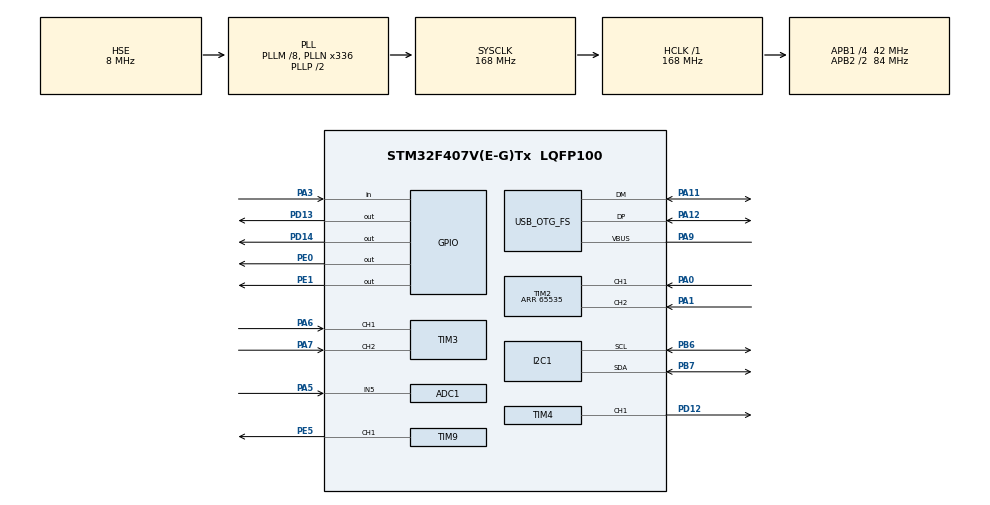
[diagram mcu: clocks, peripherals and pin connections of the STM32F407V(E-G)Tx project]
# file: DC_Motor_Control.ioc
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ADC1.Channel-0\#ChannelRegularConversion=ADC_CHANNEL_5
ADC1.ContinuousConvMode=ENABLE
ADC1.NbrOfConversionFlag=1
ADC1.Rank-0\#ChannelRegularConversion=1
ADC1.SamplingTime-0\#ChannelRegularConversion=ADC_SAMPLETIME_3CYCLES
ADC1.master=1
Dma.ADC1.0.Direction=DMA_PERIPH_TO_MEMORY
Dma.ADC1.0.FIFOMode=DMA_FIFOMODE_DISABLE
Dma.ADC1.0.Instance=DMA2_Stream0
Dma.ADC1.0.MemDataAlignment=DMA_MDATAALIGN_HALFWORD
Dma.ADC1.0.MemInc=DMA_MINC_ENABLE
Dma.ADC1.0.Mode=DMA_CIRCULAR
Dma.ADC1.0.PeriphDataAlignment=DMA_PDATAALIGN_HALFWORD
Dma.ADC1.0.PeriphInc=DMA_PINC_DISABLE
Dma.ADC1.0.Priority=DMA_PRIORITY_LOW
Dma.Request0=ADC1
I2C1.I2C_Mode=I2C_Standard
Mcu.Family=STM32F4
Mcu.Name=STM32F407V(E-G)Tx
Mcu.Package=LQFP100
NVIC.DMA2_Stream0_IRQn=true\:0\:0\:false\:false\:true\:false\:true\:true
NVIC.OTG_FS_IRQn=true\:0\:0\:false\:false\:true\:true\:true\:true
NVIC.PriorityGroup=NVIC_PRIORITYGROUP_0
NVIC.TIM2_IRQn=true\:0\:0\:false\:false\:true\:true\:true\:true
PA0-WKUP.Signal=S_TIM2_CH1_ETR
PA1.Signal=S_TIM2_CH2
PA11.Mode=Device_Only
PA11.Signal=USB_OTG_FS_DM
PA12.Mode=Device_Only
PA12.Signal=USB_OTG_FS_DP
PA13.Mode=Serial_Wire
PA13.Signal=SYS_JTMS-SWDIO
PA14.Mode=Serial_Wire
PA14.Signal=SYS_JTCK-SWCLK
PA3.Signal=GPIO_Input
PA5.Signal=ADCx_IN5
PA6.Signal=S_TIM3_CH1
PA7.Signal=S_TIM3_CH2
PA9.Mode=Activate_VBUS
PA9.Signal=USB_OTG_FS_VBUS
PB6.Mode=I2C
PB6.Signal=I2C1_SCL
PB7.Mode=I2C
PB7.Signal=I2C1_SDA
PD12.Signal=S_TIM4_CH1
PD13.Signal=GPIO_Output
PD14.Signal=GPIO_Output
PE0.Signal=GPIO_Output
PE1.Signal=GPIO_Output
PE5.Signal=S_TIM9_CH1
PH0-OSC_IN.Mode=HSE-External-Oscillator
PH0-OSC_IN.Signal=RCC_OSC_IN
PH1-OSC_OUT.Mode=HSE-External-Oscillator
PH1-OSC_OUT.Signal=RCC_OSC_OUT
ProjectManager.HeapSize=0x200
ProjectManager.StackSize=0x400
ProjectManager.TargetToolchain=STM32CubeIDE
RCC.48MHZClocksFreq_Value=48000000
RCC.AHBFreq_Value=168000000
RCC.APB1CLKDivider=RCC_HCLK_DIV4
RCC.APB1Freq_Value=42000000
RCC.APB1TimFreq_Value=84000000
RCC.APB2CLKDivider=RCC_HCLK_DIV2
RCC.APB2Freq_Value=84000000
RCC.APB2TimFreq_Value=168000000
RCC.CortexFreq_Value=168000000
RCC.HCLKFreq_Value=168000000
RCC.HSE_VALUE=8000000
RCC.HSI_VALUE=16000000
RCC.LSE_VALUE=32768
RCC.PLLM=8
RCC.PLLN=336
RCC.PLLQ=7
RCC.SYSCLKFreq_VALUE=168000000
RCC.SYSCLKSource=RCC_SYSCLKSOURCE_PLLCLK
RCC.VCOOutputFreq_Value=336000000
SH.ADCx_IN5.0=ADC1_IN5,IN5
SH.S_TIM2_CH1_ETR.0=TIM2_CH1,Encoder_Interface
SH.S_TIM2_CH2.0=TIM2_CH2,Encoder_Interface
SH.S_TIM3_CH1.0=TIM3_CH1,Encoder_Interface
SH.S_TIM3_CH2.0=TIM3_CH2,Encoder_Interface
SH.S_TIM4_CH1.0=TIM4_CH1,PWM Generation1 CH1
SH.S_TIM9_CH1.0=TIM9_CH1,PWM Generation1 CH1
TIM2.AutoReloadPreload=TIM_AUTORELOAD_PRELOAD_ENABLE
TIM2.EncoderMode=TIM_ENCODERMODE_TI12
TIM2.Period=65535
TIM3.EncoderMode=TIM_ENCODERMODE_TI12
TIM4.AutoReloadPreload=TIM_AUTORELOAD_PRELOAD_ENABLE
TIM4.Channel-PWM\ Generation1\ CH1=TIM_CHANNEL_1
TIM4.Period=999
TIM4.Prescaler=83
TIM9.Channel-PWM\ Generation1\ CH1=TIM_CHANNEL_1
TIM9.Period=999
TIM9.Prescaler=167
USB_DEVICE.CLASS_NAME_FS=CDC
USB_DEVICE.PID_CDC_FS=0x1500
USB_DEVICE.VID-CDC_FS=0x256
USB_DEVICE.VirtualMode-CDC_FS=Cdc
USB_DEVICE.VirtualModeFS=Cdc_FS
USB_OTG_FS.VirtualMode=Device_Only
VP_TIM4_VS_ClockSourceINT.Mode=Internal
VP_TIM9_VS_ClockSourceINT.Mode=Internal
VP_USB_DEVICE_VS_USB_DEVICE_CDC_FS.Mode=CDC_FS
board=STM32F407G-DISC1

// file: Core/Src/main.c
/* USER CODE BEGIN Header */
/**
 ******************************************************************************
 * @file           : main.c
 * @brief          : Main program body
 ******************************************************************************
 * @attention
 *
 * Copyright (c) 2025 STMicroelectronics.
 * All rights reserved.
 *
 * This software is licensed under terms that can be found in the LICENSE file
 * in the root directory of this software component.
 * If no LICENSE file comes with this software, it is provided AS-IS.
 *
 ******************************************************************************
 */
/* USER CODE END Header */
#include "main.h"
#include "adc.h"
#include "dma.h"
#include "i2c.h"
#include "tim.h"
#include "usb_device.h"
#include "gpio.h"

/* USER CODE BEGIN Includes */
#include <stdio.h>
#include <string.h>
#include <math.h>
#include "motor_control.h"
#include "usbd_cdc_if.h"
#include "mpu6050.h"
/* USER CODE END Includes */

/* USER CODE BEGIN PTD */
extern USBD_HandleTypeDef hUsbDeviceFS;

/* USER CODE END PTD */

/* USER CODE BEGIN PD */
/* DWT-based debounce for Motor2 EXTI (PA7)
 * STM32F407 runs at 168 MHz → 168 cycles per microsecond
 * Change 168 if you ever change your system clock */
// #define DWT_US_TO_CYCLES(us)  ((us) * 168u)

/* Minimum microseconds between two valid encoder edges.
 * At max motor speed 178 RPM with ~1237 CPR (both edges):
 *   f_max = (178/60) × 1237 = 3670 edges/sec
 *   t_min = 1/3670 = 272 us
 * We use 200us so we never accidentally reject real pulses
 * but still catch bounce (which is typically <100us) */
// #define ENC2_DEBOUNCE_US      200u
/* USER CODE END PD */

/* USER CODE BEGIN PV */
uint32_t last_rpm_time = 0;
uint32_t last_pid_time = 0;
uint16_t adc_value; // ADC variable

MPU6050_t imu1;
uint32_t last_imu_time = 0;

extern volatile uint8_t reset_request;
extern volatile uint32_t reset_token;
extern volatile uint8_t dbg_stream;

extern volatile int32_t enc_zero_m1;
extern volatile int32_t enc_zero_m2;
extern volatile uint8_t enc_request;

volatile int g_mpu_init_status = -1; // 0 = HAL_OK
volatile int g_mpu_calib_status = -1;

const int PWM_MIN_M1 = 28;
const int PWM_MIN_M2 = 28;

const uint32_t KICK_MS = 100;
const int KICK_EXTRA_M1 = 0;
const int KICK_EXTRA_M2 = 0; // try 8..15

const float ACC_LIMIT_M1 = 25.0f; // rad/s^2
const float ACC_LIMIT_M2 = 25.0f; // rad/s^2 (more gentle for motor2)

const float COUNTS_PER_REV_M1 = 1240.00f;
const float COUNTS_PER_REV_M2 = 1239.67f;

// ---- wheel speed trims (start values) ----
const float VEL_SCALE_M1_FWD = 1.00f; // was 0.84f
const float VEL_SCALE_M1_REV = 1.00f; // was 1.00f

const float VEL_SCALE_M2_FWD = 1.045f;
const float VEL_SCALE_M2_REV = 1.00f;

Motor motor1 = {
    .encoder_tim = &htim2,
    .pwm_tim = &htim4,
    .in1_port = GPIOD,
    .in1_pin = GPIO_PIN_13,
    .in2_port = GPIOD,
    .in2_pin = GPIO_PIN_14,
    .encoder_count = 0,
    .rpm = 0.0f,
    .target_velocity = 0.0f,
    .error_integral = 0.0f,
    .prev_error = 0.0f,
    .kp = 0.30f,
    .ki = 0.02f,
    .kd = 0.00f,
    .enc_sign = -1};

Motor motor2 = {
    .encoder_tim = &htim3,
    .pwm_tim = &htim9,
    .in1_port = GPIOE,
    .in1_pin = GPIO_PIN_0,
    .in2_port = GPIOE,
    .in2_pin = GPIO_PIN_1,
    .encoder_count = 0,
    .rpm = 0.0f,
    .target_velocity = 0.0f,
    .error_integral = 0.0f,
    .prev_error = 0.0f,
    .kp = 0.30f,
    .ki = 0.02f,
    .kd = 0.00f,
    .enc_sign = +1};

#ifndef M_PI
#define M_PI 3.14159265358979323846f
#endif
/* USER CODE END PV */

void SystemClock_Config(void);
/* USER CODE BEGIN PFP */
void set_motor_speed(Motor *motor, int speed_percent, uint8_t direction, uint8_t brake);
void read_encoder(Motor *motor);
void calculate_rpm(Motor *motor);
void pid_control(Motor *motor);

/* USER CODE END PFP */

int main(void)
{

    /* MCU Configuration--------------------------------------------------------*/

    /* Reset of all peripherals, Initializes the Flash interface and the Systick. */
    HAL_Init();

    /* Configure the system clock */
    SystemClock_Config();

    /* Initialize all configured peripherals */
    MX_GPIO_Init();
    MX_DMA_Init();
    MX_ADC1_Init();
    MX_TIM2_Init();
    MX_TIM4_Init();
    MX_USB_DEVICE_Init();
    MX_TIM9_Init();
    MX_I2C1_Init();
    MX_TIM3_Init();
    /* USER CODE BEGIN 2 */
    /* Wake + configure the MPU6050. Keep the robot STILL for ~1 second after reset
       (gyro bias is measured here). Results are printed from the main loop. */
    g_mpu_init_status = (int)MPU6050_Init(&imu1);
    if (g_mpu_init_status == 0)
    {                                                                // HAL_OK
        g_mpu_calib_status = (int)MPU6050_CalibrateGyro(&imu1, 200); // ~1 s, robot still
    }

    /* DWT cycle counter (leave as-is) */
    CoreDebug->DEMCR |= CoreDebug_DEMCR_TRCENA_Msk;
    DWT->CYCCNT = 0;
    DWT->CTRL |= DWT_CTRL_CYCCNTENA_Msk;
    /* USER CODE END 2 */
    /* Enable DWT cycle counter for microsecond timing in EXTI ISR.
     * Must be done before the while loop starts.
     * DEMCR: enable trace, CTRL: start counter */
    CoreDebug->DEMCR |= CoreDebug_DEMCR_TRCENA_Msk;
    DWT->CYCCNT = 0;
    DWT->CTRL |= DWT_CTRL_CYCCNTENA_Msk;

    /* Infinite loop */
    /* USER CODE BEGIN WHILE */
    // Start peripherals for both motors
    HAL_TIM_Encoder_Start(&htim2, TIM_CHANNEL_ALL);
    htim2.Instance->CNT = 0;

    HAL_TIM_Encoder_Start(&htim3, TIM_CHANNEL_ALL);
    htim3.Instance->CNT = 0;

    HAL_TIM_PWM_Start(&htim4, TIM_CHANNEL_1); // Motor1 PWM
    HAL_TIM_PWM_Start(&htim9, TIM_CHANNEL_1); // Motor2 PWM

    HAL_ADC_Start_DMA(&hadc1, (uint32_t *)&adc_value, 1);

    uint8_t test_phase = 0;
    uint8_t usb_connected = 0;

    uint32_t motor_test_start = HAL_GetTick();

    // Blink LED to indicate code is running
    HAL_GPIO_WritePin(GPIOD, GPIO_PIN_15, GPIO_PIN_SET);

    // Send test message
    CDC_Transmit_FS((uint8_t *)"USB CDC Working!\r\n", 18);
    HAL_Delay(1000);

    while (1)
    {
        /* ---- MPU6050 DIAGNOSTIC: runs when you type 'i' in the console ---- */
        if (i2c_scan_request)
        {
            i2c_scan_request = 0;
            CDC_Printf("\r\n--- MPU6050 DIAG ---\r\n");
            for (uint8_t a = 0x68; a <= 0x69; a++)
            {
                HAL_StatusTypeDef s = HAL_I2C_IsDeviceReady(&hi2c1, (uint16_t)(a << 1), 5, 100);
                CDC_Printf("scan 0x%02X -> %s (HAL=%d)\r\n", a, (s == HAL_OK) ? "FOUND" : "no", (int)s);
            }
            uint8_t who = 0xAA;
            HAL_StatusTypeDef r = HAL_I2C_Mem_Read(&hi2c1, (0x68 << 1), 0x75,
                                                   I2C_MEMADD_SIZE_8BIT, &who, 1, 100);
            CDC_Printf("WHO_AM_I read=%s (HAL=%d) val=0x%02X (expect 0x68)\r\n",
                       (r == HAL_OK) ? "OK" : "FAIL", (int)r, who);
            CDC_Printf("MPU_Init=%d Calib=%d | live gz=%.4f yaw=%.4f\r\n",
                       g_mpu_init_status, g_mpu_calib_status, imu1.gz_rad_s, imu1.yaw_rad);
        }
        /* ---- HANDLE RESET REQUEST (from 'z' command) ---- */
        if (reset_request)
        {
            reset_request = 0;

            // Stop motors immediately
            motor1.target_velocity = 0.0f;
            motor2.target_velocity = 0.0f;
            set_motor_speed(&motor1, 0, 0, 0);
            set_motor_speed(&motor2, 0, 0, 0);

            // Reset software counts
            motor1.encoder_count = 0;
            motor2.encoder_count = 0;

            // Reset hardware encoder counters
            __HAL_TIM_SET_COUNTER(motor1.encoder_tim, 0);
            if (motor2.encoder_tim)
            {
                __HAL_TIM_SET_COUNTER(motor2.encoder_tim, 0);
            }

            // Reset PID state
            motor1.error_integral = 0.0f;
            motor1.prev_error = 0.0f;
            motor2.error_integral = 0.0f;
            motor2.prev_error = 0.0f;

            // Reset RPM
            motor1.rpm = 0.0f;
            motor2.rpm = 0.0f;

            // Reset "ENC zero offsets"
            enc_zero_m1 = 0;
            enc_zero_m2 = 0;

            // Reset timing so we don't get huge dt spikes
            last_rpm_time = HAL_GetTick();
            last_pid_time = HAL_GetTick();

            // Tell calculate_rpm/pid_control to clear their internal statics
            reset_token++;

            //  print ENC immediately (so you see "ENC 0 0" after 'z') (optional)
            enc_request = 1;
        }
        if (enc_request)
        {
            enc_request = 0;
            send_encoder_values();
        }

        uint32_t now = HAL_GetTick();
        if (now - last_imu_time >= 10)
        { // 100 Hz
            float dt;

            if (last_imu_time == 0)
            {
                dt = 0.01f;
            }
            else
            {
                dt = (now - last_imu_time) / 1000.0f;
            }

            if (MPU6050_Update(&imu1, dt) != HAL_OK)
            {
            }

            last_imu_time = now;
        }
        static uint8_t sync_stop_active = 0;
        static uint32_t sync_stop_t0 = 0;

        uint8_t cmd_zero_all =
            (fabsf(motor1.target_velocity) < 1e-3f) &&
            (fabsf(motor2.target_velocity) < 1e-3f);
        // ---- detect STOP -> MOVE transition ----
        static uint8_t was_cmd_zero_all = 1;

        if (!cmd_zero_all && was_cmd_zero_all)
        {

            // Reset timing so first dt isn't weird (even if calculate_rpm uses dt later)
            last_rpm_time = now;
            last_pid_time = now;

            reset_token++;

            motor1.error_integral = 0.0f;
            motor1.prev_error = 0.0f;
            motor2.error_integral = 0.0f;
            motor2.prev_error = 0.0f;

            motor1.rpm = 0.0f;
            motor2.rpm = 0.0f;
        }

        was_cmd_zero_all = cmd_zero_all;

        if (cmd_zero_all)
        {
            if (!sync_stop_active)
            {
                sync_stop_active = 1;
                sync_stop_t0 = now;
            }

            if ((now - sync_stop_t0) < 200)
            {
                set_motor_speed(&motor1, 25, 0, 1);
                set_motor_speed(&motor2, 35, 0, 1);
            }
            else
            {
                set_motor_speed(&motor1, 0, 0, 0);
                set_motor_speed(&motor2, 0, 0, 0);
            }

            read_encoder(&motor1);
            read_encoder(&motor2);

            HAL_Delay(10);
            continue;
        }
        else
        {
            sync_stop_active = 0;
        }

        if (now - last_rpm_time >= 10)
        {
            read_encoder(&motor1);
            read_encoder(&motor2);
            calculate_rpm(&motor1);
            calculate_rpm(&motor2);
            static uint32_t last_dbg = 0;
            static uint32_t last_hits = 0;

            if (dbg_stream && (now - last_dbg >= 200))
            {
                last_dbg = now;
                CDC_Printf("gz=%.4f yaw=%.4f\r\n", imu1.gz_rad_s, imu1.yaw_rad);
            }

            last_rpm_time = now;
        }

        if (now - last_pid_time >= 20)
        {
            pid_control(&motor1);
            pid_control(&motor2);
            last_pid_time = now;
        }

        static uint32_t last_print = 0;

        HAL_Delay(10);

        /* USER CODE END WHILE */

    }
}

void SystemClock_Config(void)
{
    RCC_OscInitTypeDef RCC_OscInitStruct = {0};
    RCC_ClkInitTypeDef RCC_ClkInitStruct = {0};

    /** Configure the main internal regulator output voltage
     */
    __HAL_RCC_PWR_CLK_ENABLE();
    __HAL_PWR_VOLTAGESCALING_CONFIG(PWR_REGULATOR_VOLTAGE_SCALE1);

    /** Initializes the RCC Oscillators according to the specified parameters
     * in the RCC_OscInitTypeDef structure.
     */
    RCC_OscInitStruct.OscillatorType = RCC_OSCILLATORTYPE_HSE;
    RCC_OscInitStruct.HSEState = RCC_HSE_ON;
    RCC_OscInitStruct.PLL.PLLState = RCC_PLL_ON;
    RCC_OscInitStruct.PLL.PLLSource = RCC_PLLSOURCE_HSE;
    RCC_OscInitStruct.PLL.PLLM = 8;
    RCC_OscInitStruct.PLL.PLLN = 336;
    RCC_OscInitStruct.PLL.PLLP = RCC_PLLP_DIV2;
    RCC_OscInitStruct.PLL.PLLQ = 7;
    if (HAL_RCC_OscConfig(&RCC_OscInitStruct) != HAL_OK)
    {
        Error_Handler();
    }

    /** Initializes the CPU, AHB and APB buses clocks
     */
    RCC_ClkInitStruct.ClockType = RCC_CLOCKTYPE_HCLK | RCC_CLOCKTYPE_SYSCLK | RCC_CLOCKTYPE_PCLK1 | RCC_CLOCKTYPE_PCLK2;
    RCC_ClkInitStruct.SYSCLKSource = RCC_SYSCLKSOURCE_PLLCLK;
    RCC_ClkInitStruct.AHBCLKDivider = RCC_SYSCLK_DIV1;
    RCC_ClkInitStruct.APB1CLKDivider = RCC_HCLK_DIV4;
    RCC_ClkInitStruct.APB2CLKDivider = RCC_HCLK_DIV2;

    if (HAL_RCC_ClockConfig(&RCC_ClkInitStruct, FLASH_LATENCY_5) != HAL_OK)
    {
        Error_Handler();
    }
}

/* USER CODE BEGIN 4 */

void set_motor_speed(Motor *motor, int speed_percent, uint8_t direction, uint8_t brake)
{
    if (speed_percent < 0)
        speed_percent = 0;
    if (speed_percent > 100)
        speed_percent = 100;
    motor->last_pwm = speed_percent;

    uint32_t arr = __HAL_TIM_GET_AUTORELOAD(motor->pwm_tim);
    uint32_t pwm_val = (speed_percent * arr) / 100;
    __HAL_TIM_SET_COMPARE(motor->pwm_tim, TIM_CHANNEL_1, pwm_val);
    // If PWM is zero and we're not braking, coast (IN1=0, IN2=0)
    if (!brake && speed_percent == 0)
    {
        HAL_GPIO_WritePin(motor->in1_port, motor->in1_pin, GPIO_PIN_RESET);
        HAL_GPIO_WritePin(motor->in2_port, motor->in2_pin, GPIO_PIN_RESET);
        return;
    }

    if (brake)
    {
        HAL_GPIO_WritePin(motor->in1_port, motor->in1_pin, GPIO_PIN_SET);
        HAL_GPIO_WritePin(motor->in2_port, motor->in2_pin, GPIO_PIN_SET);

        return;
    }

    GPIO_PinState in1 = direction ? GPIO_PIN_SET : GPIO_PIN_RESET;
    GPIO_PinState in2 = direction ? GPIO_PIN_RESET : GPIO_PIN_SET;

    HAL_GPIO_WritePin(motor->in1_port, motor->in1_pin, in1);
    HAL_GPIO_WritePin(motor->in2_port, motor->in2_pin, in2);

    if (motor == &motor2 && speed_percent > 0)
    {
    }
}

void read_encoder(Motor *motor)
{
    int16_t raw = (int16_t)(motor->encoder_tim->Instance->CNT);
    motor->encoder_tim->Instance->CNT = 0;

    int32_t delta = (int32_t)motor->enc_sign * (int32_t)raw;
    motor->last_delta_counts = delta;
    motor->encoder_count += delta;
}

void calculate_rpm(Motor *motor)
{
    extern volatile uint32_t reset_token;

    static uint32_t last_time[2] = {0, 0};
    static int32_t last_count[2] = {0, 0};
    static float rpm_filt[2] = {0.0f, 0.0f};

    static uint32_t seen_token[2] = {0, 0};

    uint8_t idx = (motor == &motor2) ? 1 : 0;
    uint32_t now = HAL_GetTick();

    /* ---- CLEAR INTERNAL STATE AFTER 'z' ---- */
    if (seen_token[idx] != reset_token)
    {
        seen_token[idx] = reset_token;
        last_time[idx] = 0;
        last_count[idx] = motor->encoder_count;
        rpm_filt[idx] = 0.0f;
        motor->rpm = 0.0f;
        return;
    }

    uint32_t period_ms = 10;
    if (now - last_time[idx] < period_ms)
        return;

    if (last_time[idx] == 0)
    {
        last_time[idx] = now;
        last_count[idx] = motor->encoder_count;
        motor->rpm = 0.0f;
        return;
    }
    uint32_t dt_ms = now - last_time[idx];
    if (dt_ms == 0)
        return;

    int32_t diff = motor->encoder_count - last_count[idx];
    int32_t adiff = (diff < 0) ? -diff : diff;

    float dt = dt_ms / 1000.0f;
    float cpr = (motor == &motor2) ? COUNTS_PER_REV_M2 : COUNTS_PER_REV_M1;

    int32_t min_counts = (motor == &motor2) ? 2 : 2; // or 1, but SAME for both

    float rpm_meas;
    if (adiff >= min_counts)
    {
        rpm_meas = (diff * 60.0f) / (cpr * dt);
    }
    else
    {
        if (fabsf(motor->target_velocity) < 0.2f)
        {
            rpm_meas = 0.0f;
        }
        else
        {
            float decay = 0.90f;
            rpm_meas = rpm_filt[idx] * decay;
        }
    }
    /* ---- CLAMP HERE ---- */
    if (rpm_meas > 220.0f)
        rpm_meas = 220.0f;
    if (rpm_meas < -220.0f)
        rpm_meas = -220.0f;

    float alpha = 0.60f;

    rpm_filt[idx] = alpha * rpm_filt[idx] + (1.0f - alpha) * rpm_meas;

    motor->rpm = rpm_filt[idx];

    last_count[idx] = motor->encoder_count;
    last_time[idx] = now;
}

void pid_control(Motor *motor)
{
    extern volatile uint32_t reset_token;

    static uint32_t last_t[2] = {0, 0};
    static float ramp_target[2] = {0.0f, 0.0f};
    static uint32_t seen_token[2] = {0, 0};

    static uint32_t kick_t0[2] = {0, 0};
    static float last_cmd[2] = {0.0f, 0.0f};
    static int32_t kick_start_enc[2] = {0, 0};
    static uint8_t moving[2] = {0, 0};
    static uint8_t stop_state[2] = {0, 0}; // 0=RUN, 1=STOPPING, 2=STOPPED
    static uint8_t stop_good[2] = {0, 0};

    static uint32_t last_dbg[2] = {0, 0};
    static uint32_t dbg_until[2] = {0, 0};
    static int last_pwm[2] = {0, 0};
    static uint8_t printed_stopping[2] = {0, 0};
    static uint8_t printed_stopped[2] = {0, 0};

    uint8_t idx = (motor == &motor2) ? 1 : 0;
    uint32_t now = HAL_GetTick();

    const int32_t KICK_COUNTS_M1 = 6;
    const int32_t KICK_COUNTS_M2 = 12;
    const uint32_t KICK_MIN_MS = 30;
    const uint32_t KICK_WIN_MS = (motor == &motor2) ? 300 : 150;

    if (seen_token[idx] != reset_token)
    {
        seen_token[idx] = reset_token;

        last_t[idx] = 0;
        ramp_target[idx] = 0.0f;

        kick_t0[idx] = 0;
        last_cmd[idx] = 0.0f;
        kick_start_enc[idx] = motor->encoder_count;
        moving[idx] = 0;

        stop_state[idx] = 0;
        stop_good[idx] = 0;

        last_dbg[idx] = 0;
        dbg_until[idx] = 0;

        motor->error_integral = 0.0f;
        motor->prev_error = 0.0f;

        last_pwm[idx] = 0;
        printed_stopping[idx] = 0;
        printed_stopped[idx] = 0;
    }

    uint8_t cmd_zero = (fabsf(motor->target_velocity) < 1e-3f);
    if (cmd_zero)
    {
        if (stop_state[idx] == 0)
        {
            stop_state[idx] = 1;
            printed_stopping[idx] = 0;
            printed_stopped[idx] = 0;
            if (dbg_stream && !printed_stopping[idx])
            {
                printed_stopping[idx] = 1;
                CDC_Printf("M%u -> STOPPING\r\n", (unsigned)(idx + 1));
            }
            stop_good[idx] = 0;
            dbg_until[idx] = now + 1500;
            last_dbg[idx] = 0;

            motor->error_integral = 0.0f;
            motor->prev_error = 0.0f;

            kick_t0[idx] = 0;
            moving[idx] = 0;
            last_pwm[idx] = 0;
        }
    }
    else
    {
        stop_state[idx] = 0;
        stop_good[idx] = 0;
        printed_stopping[idx] = 0;
        printed_stopped[idx] = 0;
    }

    if (stop_state[idx] == 2 && cmd_zero)
    {
        set_motor_speed(motor, 0, 0, 0);
        last_pwm[idx] = 0;

        if (dbg_stream && printed_stopped[idx] == 0)
        {
            printed_stopped[idx] = 1;
            CDC_Printf("M%u still STOPPED (holding)\r\n", (unsigned)(idx + 1));
        }
        return;
    }

    // ---- detect start (0 -> nonzero command) ----
    float cmd_now = motor->target_velocity;
    float cmd_prev = last_cmd[idx];

    uint8_t was_zero = (fabsf(cmd_prev) < 1e-3f);
    uint8_t now_nonzero = (fabsf(cmd_now) > 1e-3f);

    // SIGN CHANGE detection (e.g., -5 -> +5 or +5 -> -5)
    uint8_t sign_change =
        (cmd_prev > 1e-3f && cmd_now < -1e-3f) ||
        (cmd_prev < -1e-3f && cmd_now > 1e-3f);

    if ((was_zero && now_nonzero) || sign_change)
    {
        kick_t0[idx] = now;
        kick_start_enc[idx] = motor->encoder_count;
        moving[idx] = 0;

        dbg_until[idx] = now + 800;

        motor->error_integral = 0.0f;
        motor->prev_error = 0.0f;

        ramp_target[idx] = 0.0f;
        last_t[idx] = 0;
        last_pwm[idx] = 0;
    }

    last_cmd[idx] = cmd_now;

    float dt = (last_t[idx] == 0) ? 0.02f : (now - last_t[idx]) / 1000.0f;
    if (dt <= 0.0f)
        dt = 0.02f;
    last_t[idx] = now;

    float accel_limit = (motor == &motor2) ? ACC_LIMIT_M2 : ACC_LIMIT_M1;
    float max_step = accel_limit * dt;

    float boosted_cmd = motor->target_velocity;
    {
        float t_other = (motor == &motor2) ? motor1.target_velocity
                                           : motor2.target_velocity;
        uint8_t both_active =
            (fabsf(boosted_cmd) > 0.05f) && (fabsf(t_other) > 0.05f);
        if (both_active)
        {
            if ((boosted_cmd * t_other) < 0.0f)
            {
                boosted_cmd *= 5.0f;
            }
            else
            {
                boosted_cmd *= 3.0f;
            }
            if (boosted_cmd > 18.0f)
                boosted_cmd = 18.0f;
            if (boosted_cmd < -18.0f)
                boosted_cmd = -18.0f;
        }
    }
    float cmd = (stop_state[idx] == 1) ? 0.0f : boosted_cmd;
    float delta = cmd - ramp_target[idx];

    if (delta > max_step)
        delta = max_step;
    if (delta < -max_step)
        delta = -max_step;

    ramp_target[idx] += delta;
    float target = ramp_target[idx];

    float current_velocity = motor->rpm * (2.0f * M_PI) / 60.0f;
    if (stop_state[idx] == 1)
    {
        const float V_EPS = 0.15f; // rad/s
        const float T_EPS = 0.15f; // rad/s

        if (fabsf(ramp_target[idx]) < T_EPS && fabsf(current_velocity) < V_EPS)
        {
            if (++stop_good[idx] >= 3)
            {
                set_motor_speed(motor, 0, 0, 0);

                motor->error_integral = 0.0f;
                motor->prev_error = 0.0f;
                ramp_target[idx] = 0.0f;
                last_t[idx] = 0;

                moving[idx] = 0;
                kick_t0[idx] = 0;

                stop_state[idx] = 2; // STOPPED
                stop_good[idx] = 0;
                if (dbg_stream && !printed_stopped[idx])
                {
                    printed_stopped[idx] = 1;
                    CDC_Printf("M%u -> STOPPED (PWM cut)\r\n", (unsigned)(idx + 1));
                }
                return;
            }
        }
        else
        {
            stop_good[idx] = 0;
        }
    }

    float error = target - current_velocity;

    float p_term = motor->kp * error;

    if (stop_state[idx] == 0)
    {
        motor->error_integral += error * dt;
    }

    float i_term = motor->ki * motor->error_integral;

    float d_term = motor->kd * (error - motor->prev_error) / dt;
    motor->prev_error = error;

    float output = p_term + i_term + d_term;

    uint8_t dir = (target < 0.0f);
    uint8_t brake = 0;
    float u = output;

    const float BRAKE_DB = 0.10f; // start at 0.10, tune 0.05..0.20

    if (target >= 0.0f)
    {
        if (u < -BRAKE_DB)
        {
            brake = 1;
            u = -u;
        }
        else if (u < 0.0f)
        {
            u = 0.0f;
        }
    }
    else
    {
        if (u > BRAKE_DB)
        {
            brake = 1;
        }
        u = fabsf(u);
        if (!brake && u < BRAKE_DB)
            u = 0.0f;
    }

    int speed_percent = (int)(u * 100.0f);
    if (speed_percent > 100)
        speed_percent = 100;
    if (stop_state[idx] == 1)
    {
        brake = 1;
        dir = 0;

        const int STOP_PWM_MAX = 50;
        if (speed_percent > STOP_PWM_MAX)
            speed_percent = STOP_PWM_MAX;
    }

    if (!brake)
    {
        float tmag = fabsf(target);

        if (speed_percent > 0 && tmag > 0.1f)
        {

            if (motor == &motor2)
            {
                if (speed_percent < PWM_MIN_M2)
                    speed_percent = PWM_MIN_M2;
            }
            else
            {
                if (!moving[idx])
                {
                    if (speed_percent < PWM_MIN_M1)
                        speed_percent = PWM_MIN_M1;
                }
            }
        }
    }

    if (kick_t0[idx] != 0)
    {
        int32_t moved = motor->encoder_count - kick_start_enc[idx];
        if (moved < 0)
            moved = -moved;

        int32_t kick_counts = (motor == &motor2) ? KICK_COUNTS_M2 : KICK_COUNTS_M1;

        if ((now - kick_t0[idx]) >= KICK_MIN_MS && moved >= kick_counts)
        {
            moving[idx] = 1;
            kick_t0[idx] = 0;
        }
    }

    if (!brake)
    {
        if (speed_percent > 0 && !moving[idx] &&
            kick_t0[idx] != 0 && (now - kick_t0[idx]) < KICK_MS)
        {
            int base = (motor == &motor2) ? PWM_MIN_M2 : PWM_MIN_M1;
            int extra = (motor == &motor2) ? KICK_EXTRA_M2 : KICK_EXTRA_M1;
            int min_kick = base + extra;

            if (speed_percent < min_kick)
                speed_percent = min_kick;
            if (speed_percent > 100)
                speed_percent = 100;
        }
        else if (kick_t0[idx] != 0 && (now - kick_t0[idx]) >= KICK_WIN_MS)
        {

            int32_t moved = motor->encoder_count - kick_start_enc[idx];
            if (moved < 0)
                moved = -moved;

            if (moved >= 1 || fabsf(motor->rpm) > 1.0f)
            {
                moving[idx] = 1;
            }
            else
            {
                moving[idx] = 0;
            }

            kick_t0[idx] = 0;
        }
    }

    int step = (motor == &motor2) ? 4 : 8;
    int sp = speed_percent;

    if (sp > last_pwm[idx] + step)
        sp = last_pwm[idx] + step;
    if (sp < last_pwm[idx] - step)
        sp = last_pwm[idx] - step;

    last_pwm[idx] = sp;
    speed_percent = sp;

    if (dbg_until[idx] != 0 && (int32_t)(now - dbg_until[idx]) >= 0)
    {
        dbg_until[idx] = 0;
    }
    if (dbg_stream && (now - last_dbg[idx]) >= 100)
    {
        last_dbg[idx] = now;

        float cur = motor->rpm * (2.0f * M_PI) / 60.0f;
        uint32_t kick_age = (kick_t0[idx] == 0) ? 9999u : (now - kick_t0[idx]);

        CDC_Printf("M%u cmd=%.2f ramp=%.2f rpm=%.1f cur=%.2f pwm=%d dir=%u brk=%u mov=%u kickms=%lu stop=%u\r\n",
                   (unsigned)(idx + 1),
                   motor->target_velocity,
                   target,
                   motor->rpm,
                   cur,
                   speed_percent,
                   (unsigned)dir,
                   (unsigned)brake,
                   (unsigned)moving[idx],
                   (unsigned long)kick_age,
                   (unsigned)stop_state[idx]);
    }

    set_motor_speed(motor, speed_percent, dir, brake);
}

static inline float clampf(float x, float lo, float hi)
{
    return (x < lo) ? lo : (x > hi) ? hi
                                    : x;
}

void set_motor1_velocity(float v)
{
    v = clampf(v, -18.0f, 18.0f);
    float s = (v >= 0.0f) ? VEL_SCALE_M1_FWD : VEL_SCALE_M1_REV;
    motor1.target_velocity = s * v;
}

void set_motor2_velocity(float v)
{
    v = clampf(v, -18.0f, 18.0f);
    float s = (v >= 0.0f) ? VEL_SCALE_M2_FWD : VEL_SCALE_M2_REV;
    motor2.target_velocity = s * v;
}

/* USER CODE END 4 */

void Error_Handler(void)
{
    __disable_irq();
    while (1)
    {
    }
}
